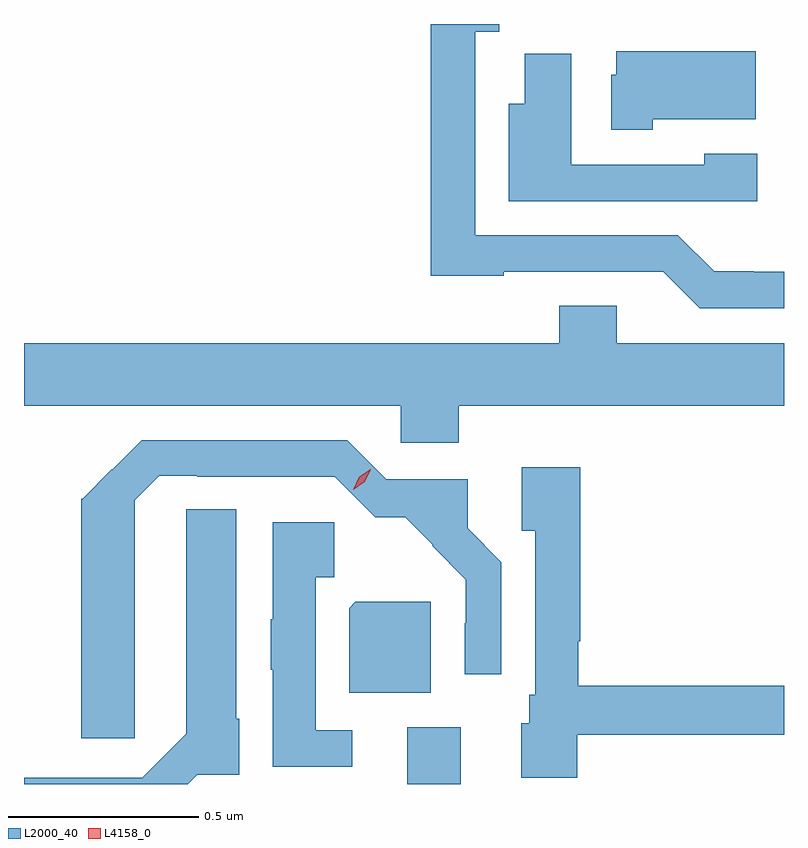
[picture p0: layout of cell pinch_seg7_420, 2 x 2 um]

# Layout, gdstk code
import gdstk
lib = gdstk.Library(unit=1e-6, precision=1e-09)
def R(c, l, rs):  # rectangles x0, y0, x1, y1
    for r in rs: c.add(gdstk.rectangle(r[:2], r[2:], *l))
def P(c, l, *ps):  # polygons
    for p in ps: c.add(gdstk.Polygon(p, *l))
L2000_40 = (2000, 40)
L4158_0 = (4158, 0)

pinch_seg7_420 = lib.new_cell('pinch_seg7_420')
R(pinch_seg7_420, L2000_40, [(543.563,1016.936,543.703,1017.085)])
P(pinch_seg7_420, L2000_40, [(544.554,1018.284),(544.474,1018.284),(544.474,1018.286),(544.37,1018.286),(544.275,1018.38),(543.741,1018.38),(543.741,1018.916),(543.805,1018.916),(543.805,1018.936),(543.625,1018.936),(543.625,1018.274),(543.816,1018.274),(543.816,1018.284),(544.236,1018.284),(544.332,1018.188),(544.554,1018.188)],
  [(544.209,1018.685),(544.48,1018.685),(544.48,1018.864),(544.112,1018.864),(544.112,1018.803),(544.1,1018.803),(544.1,1018.658),(544.209,1018.658)],
  [(544.483,1018.594),(544.344,1018.594),(544.344,1018.566),(543.994,1018.566),(543.994,1018.858),(543.872,1018.858),(543.872,1018.726),(543.83,1018.726),(543.83,1018.47),(544.483,1018.47)],
  [(543.698,1017.932),(544.554,1017.932),(544.554,1018.096),(544.114,1018.096),(544.114,1018.195),(543.962,1018.195),(543.962,1018.096),(542.554,1018.096),(542.554,1017.932),(543.546,1017.932),(543.546,1017.834),(543.698,1017.834)],
  [(542.845,1017.578),(542.846,1017.578),(542.846,1017.683),(542.91,1017.747),(543.01,1017.747),(543.01,1017.744),(543.372,1017.744),(543.478,1017.638),(543.557,1017.638),(543.63,1017.565),(543.628,1017.563),(543.717,1017.474),(543.717,1017.359),(543.714,1017.359),(543.714,1017.225),(543.81,1017.225),(543.81,1017.52),(543.722,1017.609),(543.722,1017.738),(543.507,1017.738),(543.405,1017.84),(542.864,1017.84),(542.786,1017.763),(542.785,1017.764),(542.708,1017.687),(542.705,1017.687),(542.705,1017.057),(542.845,1017.057)],
  [(544.01,1017.066),(544.554,1017.066),(544.554,1017.194),(544.012,1017.194),(544.012,1017.312),(544.018,1017.312),(544.018,1017.769),(543.864,1017.769),(543.864,1017.603),(543.9,1017.603),(543.9,1017.171),(543.884,1017.171),(543.884,1017.096),(543.863,1017.096),(543.863,1016.952),(544.01,1016.952)],
  [(543.01,1016.961),(543.121,1016.961),(543.121,1017.108),(543.112,1017.108),(543.112,1017.659),(542.981,1017.659),(542.981,1017.068),(542.865,1016.952),(542.554,1016.952),(542.554,1016.936),(542.985,1016.936)],
  [(543.418,1017.078),(543.322,1017.078),(543.322,1017.48),(543.37,1017.48),(543.37,1017.625),(543.209,1017.625),(543.209,1017.369),(543.203,1017.369),(543.203,1017.237),(543.209,1017.237),(543.209,1016.981),(543.418,1016.981)],
  [(543.625,1017.415),(543.426,1017.415),(543.41,1017.399),(543.41,1017.176),(543.625,1017.176)])
P(pinch_seg7_420, L4158_0, [(543.421,1017.711),(543.421,1017.711),(543.436,1017.744),(543.466,1017.764),(543.466,1017.764),(543.466,1017.763),(543.451,1017.731),(543.421,1017.711)])

lib.write_gds('pinch_seg7_420.gds')
